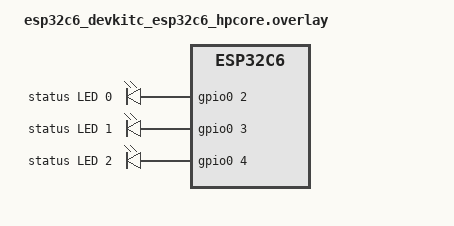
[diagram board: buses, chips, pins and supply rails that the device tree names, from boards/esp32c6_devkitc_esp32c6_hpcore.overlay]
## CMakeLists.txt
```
# SPDX-License-Identifier: Apache-2.0

cmake_minimum_required(VERSION 3.20.0)
find_package(Zephyr REQUIRED HINTS $ENV{ZEPHYR_BASE})
project(app_io)

target_sources(app PRIVATE src/main.c)
```

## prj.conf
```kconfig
CONFIG_APPLICATION_DEFINED_SYSCALL=y

CONFIG_APP_PLATFORM=y
CONFIG_APP_PLATFORM_MAX_APPS=4
CONFIG_APP_PLATFORM_SERVICES=y
CONFIG_APP_PLATFORM_IO=y

CONFIG_GPIO=y
CONFIG_ENTROPY_GENERATOR=y

CONFIG_TASK_WDT=y
CONFIG_TASK_WDT_CHANNELS=6

CONFIG_LOG=y
CONFIG_LOG_MODE_MINIMAL=y
CONFIG_THREAD_NAME=y

CONFIG_MAIN_STACK_SIZE=4096
```

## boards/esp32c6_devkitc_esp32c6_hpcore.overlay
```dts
/*
 * Copyright (c) 2026 Espressif Systems (Shanghai) Co., Ltd.
 *
 * SPDX-License-Identifier: Apache-2.0
 */

/*
 * The devkit exposes a user button (sw0, GPIO9) but no simple GPIO LEDs. Define
 * three status LEDs on free pins so the LED service has a multi-pin output set
 * to grant from.
 */
/ {
	leds {
		compatible = "gpio-leds";

		led_a: led_0 {
			gpios = <&gpio0 2 GPIO_ACTIVE_HIGH>;
			label = "status LED 0";
		};

		led_b: led_1 {
			gpios = <&gpio0 3 GPIO_ACTIVE_HIGH>;
			label = "status LED 1";
		};

		led_c: led_2 {
			gpios = <&gpio0 4 GPIO_ACTIVE_HIGH>;
			label = "status LED 2";
		};
	};

	aliases {
		led0 = &led_a;
		led1 = &led_b;
		led2 = &led_c;
	};
};
```

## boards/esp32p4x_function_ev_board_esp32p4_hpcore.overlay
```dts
/*
 * Copyright (c) 2026 Espressif Systems (Shanghai) Co., Ltd.
 *
 * SPDX-License-Identifier: Apache-2.0
 */

/ {
	leds {
		compatible = "gpio-leds";

		led_a: led_0 {
			gpios = <&gpio0 2 GPIO_ACTIVE_HIGH>;
			label = "status LED 0";
		};

		led_b: led_1 {
			gpios = <&gpio0 3 GPIO_ACTIVE_HIGH>;
			label = "status LED 1";
		};

		led_c: led_2 {
			gpios = <&gpio0 4 GPIO_ACTIVE_HIGH>;
			label = "status LED 2";
		};
	};

	aliases {
		led0 = &led_a;
		led1 = &led_b;
		led2 = &led_c;
	};
};
```

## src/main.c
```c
/*
 * Copyright (c) 2026 Espressif Systems (Shanghai) Co., Ltd.
 *
 * SPDX-License-Identifier: Apache-2.0
 */

/*
 * An isolated user-mode application using the platform's general-I/O services:
 * it drives the status LEDs it was granted, reacts to button presses, and keeps
 * a checkpoint value the platform retains across a restart. The LED pins are
 * scoped by a per-application grant, so an ungranted pin is refused at the
 * service boundary. Everything the application touches goes through a
 * capability-gated syscall; it links no driver code.
 */

#include <zephyr/app_platform/app_platform.h>
#include <zephyr/app_platform/app_services.h>
#include <zephyr/app_platform/app_caps.h>
#include <zephyr/kernel.h>
#include <zephyr/sys/printk.h>
#include <errno.h>

static void io_app(void *arg)
{
	ARG_UNUSED(arg);

	uint32_t mark = app_svc_checkpoint_get();

	if (mark == 0) {
		app_svc_log("io: first run, no checkpoint yet");
	} else {
		char line[40];

		(void)snprintk(line, sizeof(line), "io: resumed at checkpoint %u",
			       mark);
		app_svc_log(line);
	}

	/* Resolve LEDs by their devicetree name once, then use the indices. The
	 * app addresses LEDs by a stable name, not a position that could shift.
	 */
	int led_a = app_svc_led_find("status LED 0");
	int led_b = app_svc_led_find("status LED 1");

	if (led_a < 0 || led_b < 0) {
		app_svc_log("io: could not resolve LED names");
		return;
	}
	app_svc_log("io: resolved LEDs by name");
	int pins[2] = { led_a, led_b };

	/* Walk the granted LEDs on a few rounds, reacting to any press. */
	for (int round = 0; round < 5; round++) {
		int pin = pins[round % 2];
		int rc = app_svc_button_wait(1000);

		if (rc >= 0) {
			app_svc_led_set(pin, 1);
			app_svc_log("io: button press -> led on");
		} else {
			app_svc_led_set(pin, round & 1);
			app_svc_log("io: idle round, toggled a granted led");
		}
		app_svc_checkpoint_set((uint32_t)(round + 1));
	}

	/* The third LED, resolved by name, was never granted: the boundary must
	 * refuse it even though the app can name it.
	 */
	int led_c = app_svc_led_find("status LED 2");

	if (led_c >= 0 && app_svc_led_set(led_c, 1) == -EACCES) {
		app_svc_log("io: ungranted led 'status LED 2' correctly denied");
	} else {
		app_svc_log("io: ERROR ungranted led was allowed");
	}

	app_svc_led_set(led_a, 0);
	app_svc_led_set(led_b, 0);
	app_svc_log("io: done");
}

int main(void)
{
	printk("\n*** app_io: led + button + checkpoint via platform services ***\n");

	if (app_platform_init() != 0) {
		printk("platform init failed\n");
		return 0;
	}

	struct app_def def = {
		.name = "io",
		.source = APP_BUILTIN,
		.entry = io_app,
		.caps = APP_CAP_LOG | APP_CAP_LED | APP_CAP_INPUT,
		.stopped = true,
	};

	int id = app_platform_launch(&def);

	if (id < 0) {
		printk("launch failed (%d)\n", id);
		return 0;
	}

	/* Grant LED pins 0 and 1 to this application; pin 2 stays denied. */
	app_platform_grant_led(id, BIT(0) | BIT(1));
	(void)app_platform_start(id);

	printk("*** launched isolated io app (group %d) ***\n", id);
	return 0;
}
```
